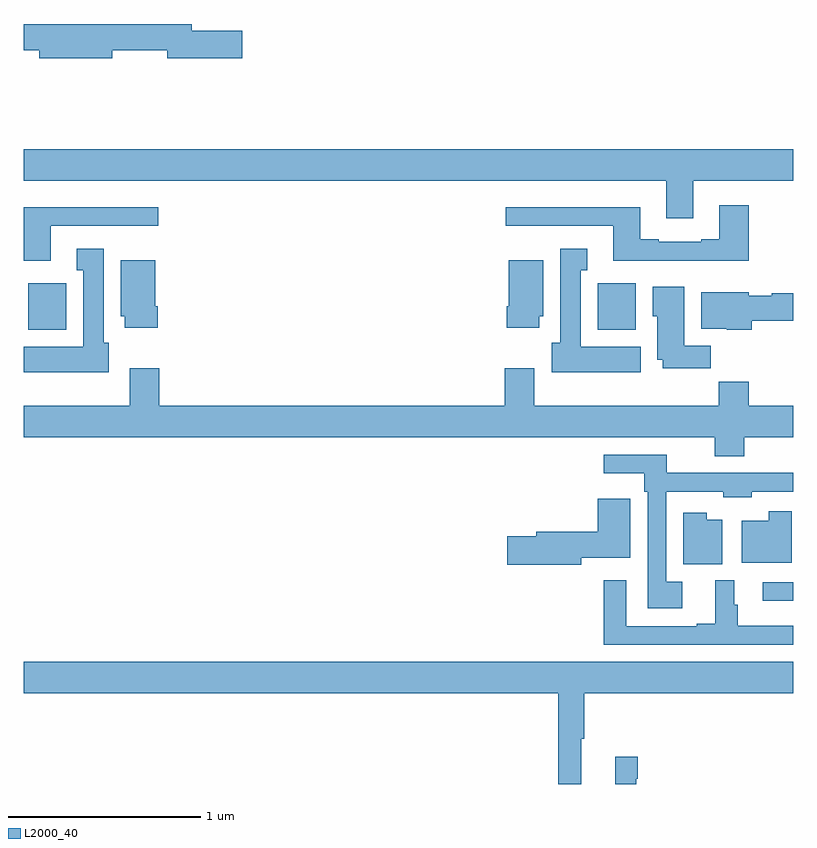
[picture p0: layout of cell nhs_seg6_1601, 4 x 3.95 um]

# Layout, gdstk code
import gdstk
lib = gdstk.Library(unit=1e-6, precision=1e-09)
def R(c, l, rs):  # rectangles x0, y0, x1, y1
    for r in rs: c.add(gdstk.rectangle(r[:2], r[2:], *l))
def P(c, l, *ps):  # polygons
    for p in ps: c.add(gdstk.Polygon(p, *l))
L2000_40 = (2000, 40)

nhs_seg6_1601 = lib.new_cell('nhs_seg6_1601')
R(nhs_seg6_1601, L2000_40, [(210.843,978.452,211,978.549), (207.023,979.862,207.22,980.104), (209.984,979.862,210.181,980.104)])
P(nhs_seg6_1601, L2000_40, [(207.46,981.316),(207.746,981.316),(207.746,981.274),(208.135,981.274),(208.135,981.416),(207.874,981.416),(207.874,981.452),(207,981.452),(207,981.316),(207.08,981.316),(207.08,981.274),(207.46,981.274)],
  [(210.481,980.636),(211,980.636),(211,980.8),(207,980.8),(207,980.636),(210.341,980.636),(210.341,980.442),(210.481,980.442)],
  [(210.77,980.509),(210.617,980.509),(210.617,980.332),(210.521,980.332),(210.521,980.319),(210.301,980.319),(210.301,980.332),(210.205,980.332),(210.205,980.5),(209.505,980.5),(209.505,980.403),(210.065,980.403),(210.065,980.222),(210.77,980.222)],
  [(207.139,980.403),(207.7,980.403),(207.7,980.5),(207,980.5),(207,980.222),(207.139,980.222)],
  [(210.208,979.774),(209.896,979.774),(209.896,980.171),(209.929,980.171),(209.929,980.284),(209.789,980.284),(209.789,979.794),(209.744,979.794),(209.744,979.64),(210.208,979.64)],
  [(207.442,979.794),(207.415,979.794),(207.415,980.284),(207.275,980.284),(207.275,980.171),(207.308,980.171),(207.308,979.774),(207,979.774),(207,979.64),(207.442,979.64)],
  [(209.68,979.932),(209.701,979.932),(209.701,980.224),(209.522,980.224),(209.522,979.984),(209.51,979.984),(209.51,979.872),(209.68,979.872)],
  [(207.695,979.984),(207.682,979.984),(207.682,980.224),(207.503,980.224),(207.503,979.932),(207.524,979.932),(207.524,979.872),(207.695,979.872)],
  [(210.572,979.78),(210.433,979.78),(210.433,980.086),(210.269,980.086),(210.269,979.932),(210.293,979.932),(210.293,979.706),(210.323,979.706),(210.323,979.662),(210.572,979.662)],
  [(210.785,979.909),(211,979.909),(211,980.051),(210.888,980.051),(210.888,980.038),(210.768,980.038),(210.768,980.056),(210.521,980.056),(210.521,979.868),(210.654,979.868),(210.654,979.862),(210.785,979.862)],
  [(210.746,979.304),(211,979.304),(211,979.468),(210.77,979.468),(210.77,979.592),(210.613,979.592),(210.613,979.468),(209.653,979.468),(209.653,979.663),(209.501,979.663),(209.501,979.468),(207.704,979.468),(207.704,979.663),(207.551,979.663),(207.551,979.468),(207,979.468),(207,979.304),(210.593,979.304),(210.593,979.205),(210.746,979.205)],
  [(210.424,978.553),(210.339,978.553),(210.339,979.02),(210.636,979.02),(210.636,978.992),(210.786,978.992),(210.786,979.02),(211,979.02),(211,979.118),(210.342,979.118),(210.342,979.212),(210.015,979.212),(210.015,979.115),(210.227,979.115),(210.227,979.019),(210.243,979.019),(210.243,978.413),(210.424,978.413)],
  [(209.898,978.677),(210.154,978.677),(210.154,978.881),(210.153,978.881),(210.153,978.984),(209.984,978.984),(209.984,978.813),(209.663,978.813),(209.663,978.788),(209.514,978.788),(209.514,978.641),(209.898,978.641)],
  [(210.994,978.919),(210.872,978.919),(210.872,978.868),(210.734,978.868),(210.734,978.65),(210.994,978.65)],
  [(210.631,978.874),(210.55,978.874),(210.55,978.91),(210.428,978.91),(210.428,978.644),(210.631,978.644)],
  [(211,978.322),(210.713,978.322),(210.713,978.432),(210.694,978.432),(210.694,978.559),(210.596,978.559),(210.596,978.334),(210.5,978.334),(210.5,978.321),(210.132,978.321),(210.132,978.559),(210.016,978.559),(210.016,978.225),(211,978.225)],
  [(209.897,977.736),(209.915,977.736),(209.915,977.972),(211,977.972),(211,978.136),(207,978.136),(207,977.972),(209.779,977.972),(209.779,977.5),(209.897,977.5)],
  [(210.184,977.528),(210.191,977.528),(210.191,977.641),(210.074,977.641),(210.074,977.5),(210.184,977.5)])

lib.write_gds('nhs_seg6_1601.gds')
